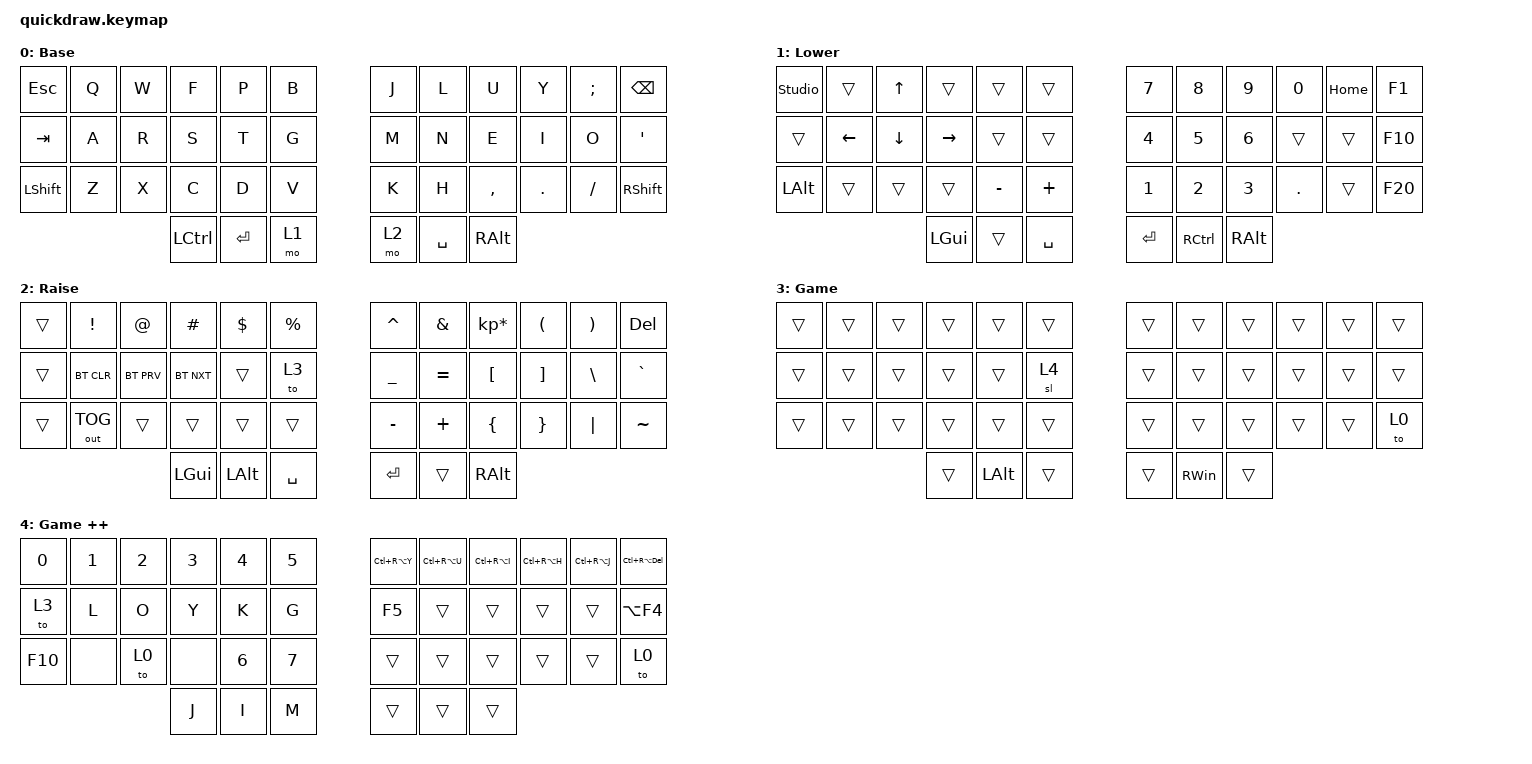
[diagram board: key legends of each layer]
/*
 * Copyright (c) 2020 The ZMK Contributors
 *
 * SPDX-License-Identifier: MIT
 */

#include <behaviors.dtsi>
#include <dt-bindings/zmk/bt.h>
#include <dt-bindings/zmk/keys.h>
#include <dt-bindings/zmk/outputs.h>

/ {
    keymap {
        compatible = "zmk,keymap";

        Base {
            // -----------------------------------------------------------------------------------------
            // | ESC  |  Q  |  W  |  E  |  R  |  T  |   |  Y  |  U  |  I  |  O  |  P  | BKSP |
            // | TAB  |  A  |  S  |  D  |  F  |  G  |   |  H  |  J  |  K  |  L  |  ;  |  '   |
            // | SHFT |  Z  |  X  |  C  |  V  |  B  |   |  N  |  M  |  ,  |  .  |  /  | ESC  |
            //                    | ctrl| ENTR| lwr |   | rse | SPC | ALT |

            label = "Base";
            bindings = <
&kp ESCAPE  &kp Q  &kp W  &kp F      &kp P      &kp B        &kp J    &kp L      &kp U      &kp Y    &kp SEMI  &kp BSPC
&kp TAB     &kp A  &kp R  &kp S      &kp T      &kp G        &kp M    &kp N      &kp E      &kp I    &kp O     &kp APOS
&kp LSHFT   &kp Z  &kp X  &kp C      &kp D      &kp V        &kp K    &kp H      &kp COMMA  &kp DOT  &kp FSLH  &kp RSHIFT
                          &kp LCTRL  &kp RET    &mo 1       &mo 2     &kp SPACE  &kp RALT
            >;
        };

        Lower {
            // -----------------------------------------------------------------------------------------
            // |  TAB |  1  |  2  |  3  |  4  |  5  |   |  6  |  7  |  8  |  9  |  0  | BKSP |
            // | BTCLR| BT1 | BT2 | BT3 | BT4 | BT5 |   | LFT | DWN |  UP | RGT |     |      |
            // | SHFT |     |     |     |     |     |   |     |     |     |     |     |      |
            //                    | GUI |     | SPC |   | ENT |     | ALT |

            label = "Lower";
            bindings = <
&studio_unlock &trans    &kp UP    &trans     &trans     &trans       &kp N7   &kp N8     &kp N9    &kp N0   &kp HOME  &kp F1
&trans         &kp LEFT  &kp DOWN  &kp RIGHT  &trans     &trans       &kp N4   &kp N5     &kp N6    &trans   &trans    &kp F10
&kp LEFT_ALT   &trans    &trans    &trans     &kp MINUS  &kp PLUS     &kp N1   &kp N2     &kp N3    &kp DOT  &trans    &kp F20
                                  &kp LGUI   &trans     &kp SPACE    &kp RET  &kp RCTRL  &kp RALT
            >;
        };

        Raise {
            // -----------------------------------------------------------------------------------------
            // |  TAB |  !  |  @  |  #  |  $  |  %  |   |  ^  |  &  |  *  |  (  |  )  | BKSP |
            // | CTRL |     |     |     |     |     |   |  -  |  =  |  [  |  ]  |  \  |  `   |
            // | SHFT |     |     |     |     |     |   |  _  |  +  |  {  |  }  | "|" |  ~   |
            //                    | GUI |     | SPC |   | ENT |     | ALT |

            label = "Raise";
            bindings = <
&trans  &kp EXCL      &kp AT      &kp HASH    &kp DLLR      &kp PRCNT    &kp CARET  &kp AMPS   &kp KP_MULTIPLY  &kp LPAR  &kp RPAR  &kp DEL
&trans  &bt BT_CLR    &bt BT_PRV  &bt BT_NXT  &trans        &to 3        &kp UNDER  &kp EQUAL  &kp LBKT         &kp RBKT  &kp BSLH  &kp GRAVE
&trans  &out OUT_TOG  &trans      &trans      &trans        &trans       &kp MINUS  &kp PLUS   &kp LBRC         &kp RBRC  &kp PIPE  &kp TILDE
                                  &kp LGUI    &kp LEFT_ALT  &kp SPACE    &kp RET    &trans     &kp RALT
            >;
        };

        Game {
            label = "Game";
            bindings = <
&trans  &trans  &trans  &trans  &trans        &trans    &trans  &trans         &trans  &trans  &trans  &trans
&trans  &trans  &trans  &trans  &trans        &sl 4     &trans  &trans         &trans  &trans  &trans  &trans
&trans  &trans  &trans  &trans  &trans        &trans    &trans  &trans         &trans  &trans  &trans  &to 0
                        &trans  &kp LEFT_ALT  &trans    &trans  &kp RIGHT_WIN  &trans
            >;
        };

        Game_++ {
            label = "Game ++";
            bindings = <
&kp N0   &kp NUMBER_1  &kp NUMBER_2  &kp NUMBER_3  &kp NUMBER_4  &kp NUMBER_5    &kp LC(RA(Y))  &kp LC(RA(U))  &kp LC(RA(I))  &kp LC(RA(H))  &kp LC(RA(J))  &kp LC(RA(DEL))
&to 3    &kp L         &kp O         &kp Y         &kp K         &kp G           &kp F5         &trans         &trans         &trans         &trans         &kp LA(F4)
&kp F10  &none         &to 0         &none         &kp NUMBER_6  &kp NUMBER_7    &trans         &trans         &trans         &trans         &trans         &to 0
                                     &kp J         &kp I         &kp M           &trans         &trans         &trans
            >;
        };
    };
};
